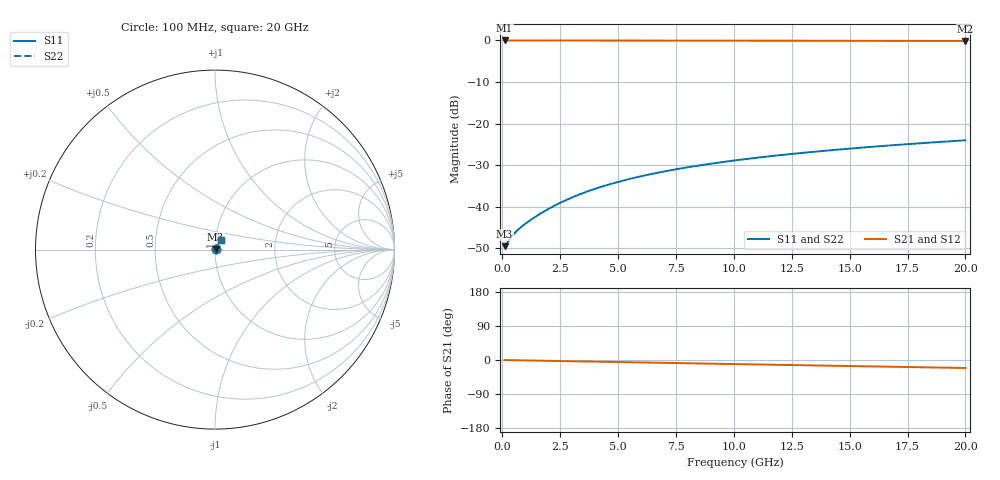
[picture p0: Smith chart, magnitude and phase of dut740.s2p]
! Touchstone file exported from HFSS 2026.1.0
!  File:  C:/ffzhzh/LocalFiles/Ansys_Project_Files/temp_train_BSMRDL_740_1783168665_18472.aedt
!  Generated:  08:38:52 PM Jul  4, 2026
!  Design:  BSMRDL
!  Project:  temp_train_BSMRDL_740_1783168665_18472
! Variables:
!  h_bsmrdl = 3.74um
!  h_ox = 20um
!  h_rdl = 5um
!  h_sub = 80um
!  h_tmrdl = 5um
!  h_tsv = 80um
!  h_via = 3um
!  l_bsmrdl = 376.86um
!  l_sub = 776.86um
!  l_tmrdl = 200um
!  m_sub = 200um
!  pitch = 15.78um
!  r_tsv = 6um
!  s_tmrdl = 10um
!  w_bsmrdl = 11.23um
!  w_sub = 500um
!  w_tmrdl = 12um
!  x_tsv_center1 = 206um
!  x_tsv_center2 = 594.09um
!  x_tsv_center3 = 806.09um
!  x_tsv_center4 = 1194.18um
!  x_tsv_center5 = 1406.18um
!  x_tsv_center6 = 1794.27um
# GHz S MA R 50.000000
! Terminal data exported
! Port[1] = BSM_RDL1_1_T1
! Port[2] = BSM_RDL1_1_T2
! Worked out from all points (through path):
!   200 points, 100 MHz to 20 GHz, reference 50 ohm
!   highest |S21| = -0.03 dB at 100 MHz (marker M1); lowest = -0.1 dB at 20 GHz (marker M2)
!   group delay of S21, straight-line fit = 2.92 ps
!   lowest |S11| = -49.5 dB at 100 MHz (marker M3), VSWR 1.01, Z = 50.3 + j0.0633 ohm
!   |S11| at or under -10 dB: start of sweep to end of sweep
!   |S22| runs from -49.5 to -24.0 dB; largest |S21 - S12| = 4.1e-15
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0.1  0.003357 10.8  0.9967 -0.1  0.9967 -0.1  0.003357 10.8
! Gamma 0 0 0 0
! Port Impedance 50 0 50 0
0.2  0.003632 19.5  0.9966 -0.2  0.9966 -0.2  0.003632 19.5
0.4  0.004353 30.1  0.9963 -0.5  0.9963 -0.5  0.004353 30.1
0.6  0.005038 36.1  0.996 -0.7  0.996 -0.7  0.005039 36.1
0.7  0.005355 38.5  0.9958 -0.8  0.9958 -0.8  0.005356 38.5
0.9  0.005962 42.5  0.9957 -1.0  0.9957 -1.0  0.005964 42.5
1.3  0.007173 49.1  0.9954 -1.5  0.9954 -1.5  0.007175 49.1
1.8  0.00877 55.0  0.9952 -2.0  0.9952 -2.0  0.008771 55.0
2.3  0.01045 58.9  0.995 -2.5  0.995 -2.5  0.01045 58.9
2.9  0.01253 62.0  0.9947 -3.2  0.9947 -3.2  0.01253 62.0
3.5  0.01464 63.8  0.9943 -3.8  0.9943 -3.8  0.01464 63.8
4.2  0.0171 65.0  0.9939 -4.6  0.9939 -4.6  0.0171 65.0
5  0.01987 65.7  0.9934 -5.5  0.9934 -5.5  0.01988 65.6
5.9  0.02293 65.8  0.9927 -6.4  0.9927 -6.4  0.02294 65.8
6.8  0.02592 65.6  0.9921 -7.4  0.9921 -7.4  0.02592 65.6
8.3  0.03071 64.8  0.9909 -9.0  0.9909 -9.0  0.03072 64.8
10.1  0.03619 63.6  0.9896 -10.9  0.9896 -10.9  0.0362 63.5
11.7  0.04084 62.3  0.9885 -12.5  0.9885 -12.5  0.04085 62.3
13.4  0.04561 61.0  0.9873 -14.3  0.9873 -14.3  0.04562 61.0
15  0.04996 59.7  0.9863 -15.9  0.9863 -15.9  0.04997 59.7
16.7  0.05445 58.4  0.9853 -17.7  0.9853 -17.7  0.05447 58.3
20  0.06288 55.7  0.9835 -21.1  0.9835 -21.1  0.0629 55.6
